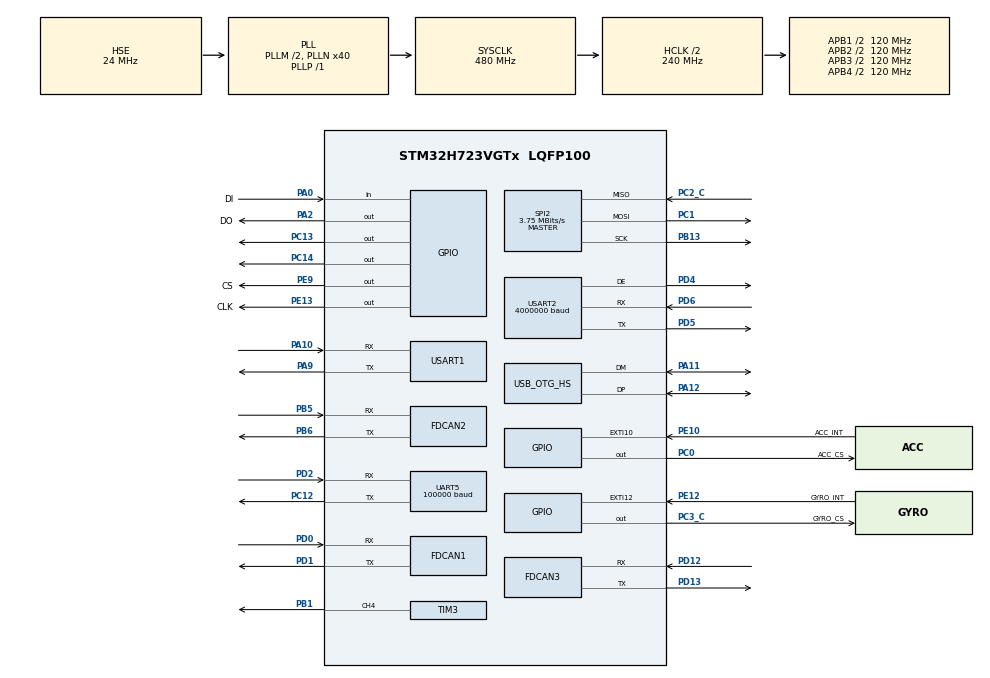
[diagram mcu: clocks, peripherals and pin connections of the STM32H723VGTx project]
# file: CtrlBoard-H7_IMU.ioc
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Dma.Request0=SPI2_RX
Dma.Request1=SPI2_TX
Dma.Request2=UART5_RX
Dma.Request3=USART2_RX
Dma.Request4=USART2_TX
Dma.SPI2_RX.0.Direction=DMA_PERIPH_TO_MEMORY
Dma.SPI2_RX.0.EventEnable=DISABLE
Dma.SPI2_RX.0.FIFOMode=DMA_FIFOMODE_DISABLE
Dma.SPI2_RX.0.Instance=DMA1_Stream0
Dma.SPI2_RX.0.MemDataAlignment=DMA_MDATAALIGN_BYTE
Dma.SPI2_RX.0.MemInc=DMA_MINC_ENABLE
Dma.SPI2_RX.0.Mode=DMA_NORMAL
Dma.SPI2_RX.0.PeriphDataAlignment=DMA_PDATAALIGN_BYTE
Dma.SPI2_RX.0.PeriphInc=DMA_PINC_DISABLE
Dma.SPI2_RX.0.Polarity=HAL_DMAMUX_REQ_GEN_RISING
Dma.SPI2_RX.0.Priority=DMA_PRIORITY_VERY_HIGH
Dma.SPI2_RX.0.RequestNumber=1
Dma.SPI2_RX.0.SignalID=NONE
Dma.SPI2_RX.0.SyncEnable=DISABLE
Dma.SPI2_RX.0.SyncPolarity=HAL_DMAMUX_SYNC_NO_EVENT
Dma.SPI2_RX.0.SyncRequestNumber=1
Dma.SPI2_RX.0.SyncSignalID=NONE
Dma.SPI2_TX.1.Direction=DMA_MEMORY_TO_PERIPH
Dma.SPI2_TX.1.EventEnable=DISABLE
Dma.SPI2_TX.1.FIFOMode=DMA_FIFOMODE_DISABLE
Dma.SPI2_TX.1.Instance=DMA1_Stream1
Dma.SPI2_TX.1.MemDataAlignment=DMA_MDATAALIGN_BYTE
Dma.SPI2_TX.1.MemInc=DMA_MINC_ENABLE
Dma.SPI2_TX.1.Mode=DMA_NORMAL
Dma.SPI2_TX.1.PeriphDataAlignment=DMA_PDATAALIGN_BYTE
Dma.SPI2_TX.1.PeriphInc=DMA_PINC_DISABLE
Dma.SPI2_TX.1.Polarity=HAL_DMAMUX_REQ_GEN_RISING
Dma.SPI2_TX.1.Priority=DMA_PRIORITY_HIGH
Dma.SPI2_TX.1.RequestNumber=1
Dma.SPI2_TX.1.SignalID=NONE
Dma.SPI2_TX.1.SyncEnable=DISABLE
Dma.SPI2_TX.1.SyncPolarity=HAL_DMAMUX_SYNC_NO_EVENT
Dma.SPI2_TX.1.SyncRequestNumber=1
Dma.SPI2_TX.1.SyncSignalID=NONE
Dma.UART5_RX.2.Direction=DMA_PERIPH_TO_MEMORY
Dma.UART5_RX.2.EventEnable=DISABLE
Dma.UART5_RX.2.FIFOMode=DMA_FIFOMODE_DISABLE
Dma.UART5_RX.2.Instance=DMA1_Stream2
Dma.UART5_RX.2.MemDataAlignment=DMA_MDATAALIGN_BYTE
Dma.UART5_RX.2.MemInc=DMA_MINC_ENABLE
Dma.UART5_RX.2.Mode=DMA_CIRCULAR
Dma.UART5_RX.2.PeriphDataAlignment=DMA_PDATAALIGN_BYTE
Dma.UART5_RX.2.PeriphInc=DMA_PINC_DISABLE
Dma.UART5_RX.2.Polarity=HAL_DMAMUX_REQ_GEN_RISING
Dma.UART5_RX.2.Priority=DMA_PRIORITY_VERY_HIGH
Dma.UART5_RX.2.RequestNumber=1
Dma.UART5_RX.2.SignalID=NONE
Dma.UART5_RX.2.SyncEnable=DISABLE
Dma.UART5_RX.2.SyncPolarity=HAL_DMAMUX_SYNC_NO_EVENT
Dma.UART5_RX.2.SyncRequestNumber=1
Dma.UART5_RX.2.SyncSignalID=NONE
Dma.USART2_RX.3.Direction=DMA_PERIPH_TO_MEMORY
Dma.USART2_RX.3.EventEnable=DISABLE
Dma.USART2_RX.3.FIFOMode=DMA_FIFOMODE_DISABLE
Dma.USART2_RX.3.Instance=DMA1_Stream3
Dma.USART2_RX.3.MemDataAlignment=DMA_MDATAALIGN_BYTE
Dma.USART2_RX.3.MemInc=DMA_MINC_ENABLE
Dma.USART2_RX.3.Mode=DMA_CIRCULAR
Dma.USART2_RX.3.PeriphDataAlignment=DMA_PDATAALIGN_BYTE
Dma.USART2_RX.3.PeriphInc=DMA_PINC_DISABLE
Dma.USART2_RX.3.Polarity=HAL_DMAMUX_REQ_GEN_RISING
Dma.USART2_RX.3.Priority=DMA_PRIORITY_HIGH
Dma.USART2_RX.3.RequestNumber=1
Dma.USART2_RX.3.SignalID=NONE
Dma.USART2_RX.3.SyncEnable=DISABLE
Dma.USART2_RX.3.SyncPolarity=HAL_DMAMUX_SYNC_NO_EVENT
Dma.USART2_RX.3.SyncRequestNumber=1
Dma.USART2_RX.3.SyncSignalID=NONE
Dma.USART2_TX.4.Direction=DMA_MEMORY_TO_PERIPH
Dma.USART2_TX.4.EventEnable=DISABLE
Dma.USART2_TX.4.FIFOMode=DMA_FIFOMODE_DISABLE
Dma.USART2_TX.4.Instance=DMA1_Stream4
Dma.USART2_TX.4.MemDataAlignment=DMA_MDATAALIGN_BYTE
Dma.USART2_TX.4.MemInc=DMA_MINC_ENABLE
Dma.USART2_TX.4.Mode=DMA_NORMAL
Dma.USART2_TX.4.PeriphDataAlignment=DMA_PDATAALIGN_BYTE
Dma.USART2_TX.4.PeriphInc=DMA_PINC_DISABLE
Dma.USART2_TX.4.Polarity=HAL_DMAMUX_REQ_GEN_RISING
Dma.USART2_TX.4.Priority=DMA_PRIORITY_HIGH
Dma.USART2_TX.4.RequestNumber=1
Dma.USART2_TX.4.SignalID=NONE
Dma.USART2_TX.4.SyncEnable=DISABLE
Dma.USART2_TX.4.SyncPolarity=HAL_DMAMUX_SYNC_NO_EVENT
Dma.USART2_TX.4.SyncRequestNumber=1
Dma.USART2_TX.4.SyncSignalID=NONE
FDCAN1.CalculateBaudRateNominal=1000000
FDCAN1.CalculateTimeBitNominal=1000
FDCAN1.CalculateTimeQuantumNominal=25.0
FDCAN1.DataPrescaler=3
FDCAN1.DataSyncJumpWidth=10
FDCAN1.DataTimeSeg1=29
FDCAN1.DataTimeSeg2=10
FDCAN1.ExtFiltersNbr=5
FDCAN1.MessageRAMOffset=5
FDCAN1.NominalPrescaler=3
FDCAN1.NominalSyncJumpWidth=10
FDCAN1.NominalTimeSeg1=29
FDCAN1.NominalTimeSeg2=10
FDCAN1.RxFifo0ElmtSize=FDCAN_DATA_BYTES_24
FDCAN1.RxFifo0ElmtsNbr=4
FDCAN1.RxFifo1ElmtSize=FDCAN_DATA_BYTES_24
FDCAN1.StdFiltersNbr=5
FDCAN1.TxElmtSize=FDCAN_DATA_BYTES_24
FDCAN1.TxFifoQueueElmtsNbr=8
FDCAN2.CalculateBaudRateNominal=1000000
FDCAN2.CalculateTimeBitNominal=1000
FDCAN2.CalculateTimeQuantumNominal=25.0
FDCAN2.DataPrescaler=3
FDCAN2.DataSyncJumpWidth=10
FDCAN2.DataTimeSeg1=29
FDCAN2.DataTimeSeg2=10
FDCAN2.ExtFiltersNbr=5
FDCAN2.MessageRAMOffset=854
FDCAN2.NominalPrescaler=3
FDCAN2.NominalSyncJumpWidth=10
FDCAN2.NominalTimeSeg1=29
FDCAN2.NominalTimeSeg2=10
FDCAN2.RxFifo1ElmtSize=FDCAN_DATA_BYTES_24
FDCAN2.RxFifo1ElmtsNbr=4
FDCAN2.StdFiltersNbr=5
FDCAN2.TxElmtSize=FDCAN_DATA_BYTES_24
FDCAN2.TxFifoQueueElmtsNbr=4
FDCAN3.CalculateBaudRateNominal=1000000
FDCAN3.CalculateTimeBitNominal=1000
FDCAN3.CalculateTimeQuantumNominal=25.0
FDCAN3.DataPrescaler=3
FDCAN3.DataSyncJumpWidth=10
FDCAN3.DataTimeSeg1=29
FDCAN3.DataTimeSeg2=5
FDCAN3.ExtFiltersNbr=5
FDCAN3.MessageRAMOffset=1709
FDCAN3.NominalPrescaler=3
FDCAN3.NominalSyncJumpWidth=10
FDCAN3.NominalTimeSeg1=29
FDCAN3.NominalTimeSeg2=10
FDCAN3.RxFifo0ElmtSize=FDCAN_DATA_BYTES_24
FDCAN3.RxFifo0ElmtsNbr=4
FDCAN3.StdFiltersNbr=5
FDCAN3.TxElmtSize=FDCAN_DATA_BYTES_24
FDCAN3.TxFifoQueueElmtsNbr=4
FREERTOS.INCLUDE_vTaskDelayUntil=1
FREERTOS.MEMORY_ALLOCATION=0
FREERTOS.Tasks01=defaultTask,0,128,StartDefaultTask,Default,NULL,Dynamic,NULL,NULL;INS_TASK,3,512,INS_Task,Default,NULL,Dynamic,NULL,NULL;CHASSIS_TASK,1,1024,Chassis_Task,Default,NULL,Dynamic,NULL,NULL;REMOTE_TASK,1,256,Remote_Task,Default,NULL,Dynamic,NULL,NULL
FREERTOS.configENABLE_FPU=1
FREERTOS.configTOTAL_HEAP_SIZE=30720
Mcu.Family=STM32H7
Mcu.Name=STM32H723VGTx
Mcu.Package=LQFP100
NVIC.DMA1_Stream0_IRQn=true\:6\:0\:true\:false\:true\:true\:false\:true\:true
NVIC.DMA1_Stream1_IRQn=true\:6\:0\:true\:false\:true\:true\:false\:true\:true
NVIC.DMA1_Stream2_IRQn=true\:5\:0\:false\:false\:true\:true\:false\:true\:true
NVIC.DMA1_Stream3_IRQn=true\:5\:0\:false\:false\:true\:true\:false\:true\:true
NVIC.DMA1_Stream4_IRQn=true\:5\:0\:false\:false\:true\:true\:false\:true\:true
NVIC.FDCAN1_IT0_IRQn=true\:6\:0\:true\:false\:true\:true\:true\:true\:true
NVIC.FDCAN2_IT0_IRQn=true\:5\:0\:true\:false\:true\:true\:true\:true\:true
NVIC.FDCAN3_IT0_IRQn=true\:5\:0\:false\:false\:true\:true\:true\:true\:true
NVIC.OTG_HS_IRQn=true\:5\:0\:false\:false\:true\:true\:false\:true\:true
NVIC.PriorityGroup=NVIC_PRIORITYGROUP_4
NVIC.SPI2_IRQn=true\:5\:0\:true\:false\:true\:true\:false\:true\:true
NVIC.TIM2_IRQn=true\:15\:0\:false\:false\:true\:false\:false\:true\:true
NVIC.TimeBase=TIM2_IRQn
NVIC.TimeBaseIP=TIM2
NVIC.UART5_IRQn=true\:5\:0\:false\:false\:true\:true\:true\:true\:true
NVIC.USART2_IRQn=true\:5\:0\:false\:false\:true\:true\:true\:true\:true
PA0.GPIO_Label=DI
PA0.GPIO_PuPd=GPIO_PULLUP
PA0.Signal=GPIO_Input
PA10.Mode=Asynchronous
PA10.Signal=USART1_RX
PA11.Mode=Device_Only_FS
PA11.Signal=USB_OTG_HS_DM
PA12.Mode=Device_Only_FS
PA12.Signal=USB_OTG_HS_DP
PA13(JTMS/SWDIO).Mode=Serial_Wire
PA13(JTMS/SWDIO).Signal=DEBUG_JTMS-SWDIO
PA14(JTCK/SWCLK).Mode=Serial_Wire
PA14(JTCK/SWCLK).Signal=DEBUG_JTCK-SWCLK
PA2.GPIO_Label=DO
PA2.GPIO_PuPd=GPIO_PULLUP
PA2.GPIO_Speed=GPIO_SPEED_FREQ_VERY_HIGH
PA2.PinState=GPIO_PIN_SET
PA2.Signal=GPIO_Output
PA9.Mode=Asynchronous
PA9.Signal=USART1_TX
PB1.Signal=S_TIM3_CH4
PB13.GPIO_Speed=GPIO_SPEED_FREQ_VERY_HIGH
PB13.Mode=Full_Duplex_Master
PB13.Signal=SPI2_SCK
PB5.Mode=FDCAN_Activate
PB5.Signal=FDCAN2_RX
PB6.Mode=FDCAN_Activate
PB6.Signal=FDCAN2_TX
PC0.GPIO_Label=ACC_CS
PC0.GPIO_Speed=GPIO_SPEED_FREQ_VERY_HIGH
PC0.PinState=GPIO_PIN_SET
PC0.Signal=GPIO_Output
PC1.GPIO_Speed=GPIO_SPEED_FREQ_VERY_HIGH
PC1.Mode=Full_Duplex_Master
PC1.Signal=SPI2_MOSI
PC12.Mode=Asynchronous
PC12.Signal=UART5_TX
PC13.Signal=GPIO_Output
PC14-OSC32_IN.Signal=GPIO_Output
PC2_C.GPIO_Speed=GPIO_SPEED_FREQ_VERY_HIGH
PC2_C.Mode=Full_Duplex_Master
PC2_C.Signal=SPI2_MISO
PC3_C.GPIO_Label=GYRO_CS
PC3_C.GPIO_Speed=GPIO_SPEED_FREQ_VERY_HIGH
PC3_C.PinState=GPIO_PIN_SET
PC3_C.Signal=GPIO_Output
PD0.Mode=FDCAN_Activate
PD0.Signal=FDCAN1_RX
PD1.Mode=FDCAN_Activate
PD1.Signal=FDCAN1_TX
PD12.Mode=FDCAN_Activate
PD12.Signal=FDCAN3_RX
PD13.Mode=FDCAN_Activate
PD13.Signal=FDCAN3_TX
PD2.Mode=Asynchronous
PD2.Signal=UART5_RX
PD4.Mode=Hardware Flow Control (RS485)
PD4.Signal=USART2_DE
PD5.Mode=Asynchronous
PD5.Signal=USART2_TX
PD6.Mode=Asynchronous
PD6.Signal=USART2_RX
PE10.GPIO_Label=ACC_INT
PE10.Signal=GPXTI10
PE12.GPIO_Label=GYRO_INT
PE12.Signal=GPXTI12
PE13.GPIO_Label=CLK
PE13.GPIO_PuPd=GPIO_PULLUP
PE13.GPIO_Speed=GPIO_SPEED_FREQ_VERY_HIGH
PE13.PinState=GPIO_PIN_SET
PE13.Signal=GPIO_Output
PE9.GPIO_Label=CS
PE9.GPIO_PuPd=GPIO_PULLUP
PE9.GPIO_Speed=GPIO_SPEED_FREQ_VERY_HIGH
PE9.PinState=GPIO_PIN_SET
PE9.Signal=GPIO_Output
PH0-OSC_IN.Mode=HSE-External-Oscillator
PH0-OSC_IN.Signal=RCC_OSC_IN
PH1-OSC_OUT.Mode=HSE-External-Oscillator
PH1-OSC_OUT.Signal=RCC_OSC_OUT
ProjectManager.HeapSize=0x200
ProjectManager.StackSize=0x800
ProjectManager.TargetToolchain=MDK-ARM V5.27
RCC.ADCFreq_Value=100000000
RCC.APB1Freq_Value=120000000
RCC.APB2Freq_Value=120000000
RCC.APB3Freq_Value=120000000
RCC.APB4Freq_Value=120000000
RCC.CortexFreq_Value=480000000
RCC.D1PPRE=RCC_APB3_DIV2
RCC.D2PPRE1=RCC_APB1_DIV2
RCC.D2PPRE2=RCC_APB2_DIV2
RCC.D3PPRE=RCC_APB4_DIV2
RCC.DIVM1=2
RCC.DIVM2=24
RCC.DIVN1=40
RCC.DIVN2=200
RCC.DIVP1=1
RCC.DIVQ1=4
RCC.DIVR1=4
RCC.HCLKFreq_Value=240000000
RCC.HPRE=RCC_HCLK_DIV2
RCC.HSE_VALUE=24000000
RCC.PLL2FRACN=0
RCC.PLL3FRACN=0
RCC.PLLFRACN=0
RCC.PLLSourceVirtual=RCC_PLLSOURCE_HSE
RCC.SYSCLKFreq_VALUE=480000000
RCC.SYSCLKSource=RCC_SYSCLKSOURCE_PLLCLK
RCC.USBCLockSelection=RCC_USBCLKSOURCE_HSI48
RCC.USBFreq_Value=48000000
SH.S_TIM3_CH4.0=TIM3_CH4,PWM Generation4 CH4
SPI2.BaudRatePrescaler=SPI_BAUDRATEPRESCALER_32
SPI2.CLKPhase=SPI_PHASE_2EDGE
SPI2.CLKPolarity=SPI_POLARITY_HIGH
SPI2.CalculateBaudRate=3.75 MBits/s
SPI2.DataSize=SPI_DATASIZE_8BIT
SPI2.Direction=SPI_DIRECTION_2LINES
SPI2.Mode=SPI_MODE_MASTER
SPI2.VirtualType=VM_MASTER
TIM3.AutoReloadPreload=TIM_AUTORELOAD_PRELOAD_ENABLE
TIM3.Channel-PWM\ Generation4\ CH4=TIM_CHANNEL_4
TIM3.Period=10000-1
TIM3.Prescaler=24-1
UART5.BaudRate=100000
UART5.Mode=MODE_RX
UART5.Parity=PARITY_EVEN
UART5.StopBits=UART_STOPBITS_2
UART5.WordLength=WORDLENGTH_9B
USART1.VirtualMode-Asynchronous=VM_ASYNC
USART2.BaudRate=4000000
USART2.OverSampling=UART_OVERSAMPLING_16
USART2.UART_DEAssertionTime=0
USART2.UART_DEDeassertionTime=0
USART2.VirtualMode-Asynchronous=VM_ASYNC
USART2.VirtualMode-Hardware\ Flow\ Control\ (RS485)=VM_ASYNC
USB_DEVICE.CLASS_NAME_HS=CDC
USB_DEVICE.VirtualMode=Cdc
USB_DEVICE.VirtualModeHS=Cdc_HS
USB_OTG_HS.VirtualMode-Device_Only_FS=Device_Only_FS
VP_FREERTOS_VS_CMSIS_V1.Mode=CMSIS_V1
VP_SYS_VS_tim2.Mode=TIM2
VP_USB_DEVICE_VS_USB_DEVICE_CDC_HS.Mode=CDC_HS
board=custom

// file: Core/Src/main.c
/* USER CODE BEGIN Header */
/**
  ******************************************************************************
  * @file           : main.c
  * @brief          : Main program body
  ******************************************************************************
  * @attention
  *
  * Copyright (c) 2024 STMicroelectronics.
  * All rights reserved.
  *
  * This software is licensed under terms that can be found in the LICENSE file
  * in the root directory of this software component.
  * If no LICENSE file comes with this software, it is provided AS-IS.
  *
  ******************************************************************************
  */
/* USER CODE END Header */
#include "main.h"
#include "cmsis_os.h"
#include "dma.h"
#include "fdcan.h"
#include "spi.h"
#include "tim.h"
#include "usart.h"
#include "usb_device.h"
#include "gpio.h"

/* USER CODE BEGIN Includes */
#include "BMI088driver.h"
#include "kalman_filter.h"
#include "mahony_filter.h"
#include "bsp_dwt.h"
#include "BMI088Middleware.h"
#include "bsp_can.h"
#include "bsp_uart.h"
#include "user_sys_config.h"

/* USER CODE END Includes */

void SystemClock_Config(void);
void MX_FREERTOS_Init(void);

int main(void)
{

  /* MCU Configuration--------------------------------------------------------*/

  /* Reset of all peripherals, Initializes the Flash interface and the Systick. */
  HAL_Init();

  /* USER CODE BEGIN Init */
//06 01 00 00 00 00 00 00 00 00 00 00 00 00 80 3F
  /* USER CODE END Init */

  /* Configure the system clock */
  SystemClock_Config();

  /* Initialize all configured peripherals */
  MX_GPIO_Init();
  MX_DMA_Init();
  MX_SPI2_Init();
  MX_FDCAN1_Init();
  MX_FDCAN2_Init();
  MX_TIM3_Init();
  MX_FDCAN3_Init();
  MX_UART5_Init();
  MX_USART2_UART_Init();
  MX_USART1_UART_Init();
  /* USER CODE BEGIN 2 */
  MX_USB_DEVICE_Init();
  DWT_Init(480);
  /*���ڳ�ʼ�� */
  BSP_USART_Init();
  /* ϵͳ�ӳ����� */
  // HAL_Delay(SYS_DELAY_START_TIME);
  // /* BMI088��ʼ�� */
  // while (BMI088_init(&hspi2, 0) != BMI088_NO_ERROR)
  // {
	//   ;
  // }
  // Power_OUT1_ON;//imu��ʼ����ɣ��ɿص�Դ�򿪣�led����
  // Power_OUT2_ON;

  FDCAN1_Config();//can��������ʼ��
  FDCAN2_Config();
  FDCAN3_Config();

  /* USER CODE END 2 */

  /* Call init function for freertos objects (in freertos.c) */
  MX_FREERTOS_Init();

  /* Start scheduler */
  osKernelStart();

  /* We should never get here as control is now taken by the scheduler */
  /* Infinite loop */
  while (1)
  {

  }
}

void SystemClock_Config(void)
{
  RCC_OscInitTypeDef RCC_OscInitStruct = {0};
  RCC_ClkInitTypeDef RCC_ClkInitStruct = {0};

  /** Supply configuration update enable
  */
  HAL_PWREx_ConfigSupply(PWR_LDO_SUPPLY);

  /** Configure the main internal regulator output voltage
  */
  __HAL_PWR_VOLTAGESCALING_CONFIG(PWR_REGULATOR_VOLTAGE_SCALE0);

  while(!__HAL_PWR_GET_FLAG(PWR_FLAG_VOSRDY)) {}

  /** Initializes the RCC Oscillators according to the specified parameters
  * in the RCC_OscInitTypeDef structure.
  */
  RCC_OscInitStruct.OscillatorType = RCC_OSCILLATORTYPE_HSI48|RCC_OSCILLATORTYPE_HSE;
  RCC_OscInitStruct.HSEState = RCC_HSE_ON;
  RCC_OscInitStruct.HSI48State = RCC_HSI48_ON;
  RCC_OscInitStruct.PLL.PLLState = RCC_PLL_ON;
  RCC_OscInitStruct.PLL.PLLSource = RCC_PLLSOURCE_HSE;
  RCC_OscInitStruct.PLL.PLLM = 2;
  RCC_OscInitStruct.PLL.PLLN = 40;
  RCC_OscInitStruct.PLL.PLLP = 1;
  RCC_OscInitStruct.PLL.PLLQ = 4;
  RCC_OscInitStruct.PLL.PLLR = 4;
  RCC_OscInitStruct.PLL.PLLRGE = RCC_PLL1VCIRANGE_3;
  RCC_OscInitStruct.PLL.PLLVCOSEL = RCC_PLL1VCOWIDE;
  RCC_OscInitStruct.PLL.PLLFRACN = 0;
  if (HAL_RCC_OscConfig(&RCC_OscInitStruct) != HAL_OK)
  {
    Error_Handler();
  }

  /** Initializes the CPU, AHB and APB buses clocks
  */
  RCC_ClkInitStruct.ClockType = RCC_CLOCKTYPE_HCLK|RCC_CLOCKTYPE_SYSCLK
                              |RCC_CLOCKTYPE_PCLK1|RCC_CLOCKTYPE_PCLK2
                              |RCC_CLOCKTYPE_D3PCLK1|RCC_CLOCKTYPE_D1PCLK1;
  RCC_ClkInitStruct.SYSCLKSource = RCC_SYSCLKSOURCE_PLLCLK;
  RCC_ClkInitStruct.SYSCLKDivider = RCC_SYSCLK_DIV1;
  RCC_ClkInitStruct.AHBCLKDivider = RCC_HCLK_DIV2;
  RCC_ClkInitStruct.APB3CLKDivider = RCC_APB3_DIV2;
  RCC_ClkInitStruct.APB1CLKDivider = RCC_APB1_DIV2;
  RCC_ClkInitStruct.APB2CLKDivider = RCC_APB2_DIV2;
  RCC_ClkInitStruct.APB4CLKDivider = RCC_APB4_DIV2;

  if (HAL_RCC_ClockConfig(&RCC_ClkInitStruct, FLASH_LATENCY_3) != HAL_OK)
  {
    Error_Handler();
  }
}

void HAL_TIM_PeriodElapsedCallback(TIM_HandleTypeDef *htim)
{
  if (htim->Instance == TIM2) {
    HAL_IncTick();
  }
}

void Error_Handler(void)
{
  __disable_irq();
  while (1)
  {
  }
}

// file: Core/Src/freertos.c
/* USER CODE BEGIN Header */
/**
  ******************************************************************************
  * File Name          : freertos.c
  * Description        : Code for freertos applications
  ******************************************************************************
  * @attention
  *
  * Copyright (c) 2024 STMicroelectronics.
  * All rights reserved.
  *
  * This software is licensed under terms that can be found in the LICENSE file
  * in the root directory of this software component.
  * If no LICENSE file comes with this software, it is provided AS-IS.
  *
  ******************************************************************************
  */
/* USER CODE END Header */

#include "FreeRTOS.h"
#include "task.h"
#include "main.h"
#include "cmsis_os.h"

/* USER CODE BEGIN Includes */
#include "INS_task.h"
#include "AGV_chassis_task.h"
#include "REMOTE_task.h"

/* USER CODE END Includes */

osThreadId defaultTaskHandle;
osThreadId INS_TASKHandle;
osThreadId CHASSIS_TASKHandle;
osThreadId REMOTE_TASKHandle;

void StartDefaultTask(void const * argument);
void INS_Task(void const * argument);
void Chassis_Task(void const * argument);
void Remote_Task(void const * argument);

extern void MX_USB_DEVICE_Init(void);
void MX_FREERTOS_Init(void); /* (MISRA C 2004 rule 8.1) */

void MX_FREERTOS_Init(void) {

  /* Create the thread(s) */
  /* definition and creation of defaultTask */
  osThreadDef(defaultTask, StartDefaultTask, osPriorityNormal, 0, 128);
  defaultTaskHandle = osThreadCreate(osThread(defaultTask), NULL);

  /* definition and creation of INS_TASK */
  osThreadDef(INS_TASK, INS_Task, osPriorityRealtime, 0, 512);
  INS_TASKHandle = osThreadCreate(osThread(INS_TASK), NULL);

  /* definition and creation of CHASSIS_TASK */
  osThreadDef(CHASSIS_TASK, Chassis_Task, osPriorityAboveNormal, 0, 1024);
  CHASSIS_TASKHandle = osThreadCreate(osThread(CHASSIS_TASK), NULL);

  /* definition and creation of REMOTE_TASK */
  osThreadDef(REMOTE_TASK, Remote_Task, osPriorityAboveNormal, 0, 256);
  REMOTE_TASKHandle = osThreadCreate(osThread(REMOTE_TASK), NULL);

}

void StartDefaultTask(void const * argument)
{
  /* init code for USB_DEVICE */
  MX_USB_DEVICE_Init();
  for(;;)
  {
    osDelay(1);
  }
}

void INS_Task(void const * argument)
{
  /* USER CODE BEGIN INS_Task */

  /* Infinite loop */
  for(;;)
  {
//    INS_task();
		 osDelay(5);
  }
  /* USER CODE END INS_Task */
}

void Chassis_Task(void const * argument)
{
  /* USER CODE BEGIN Chassis_Task */
  /* Infinite loop */
  for(;;)
  {
    AGV_chassis_task();
  }
  /* USER CODE END Chassis_Task */
}

void Remote_Task(void const * argument)
{
  /* USER CODE BEGIN Remote_Task */
  /* Infinite loop */
  for(;;)
  {
    // REMOTE_task();
    osDelay(1);
  }
  /* USER CODE END Remote_Task */
}
